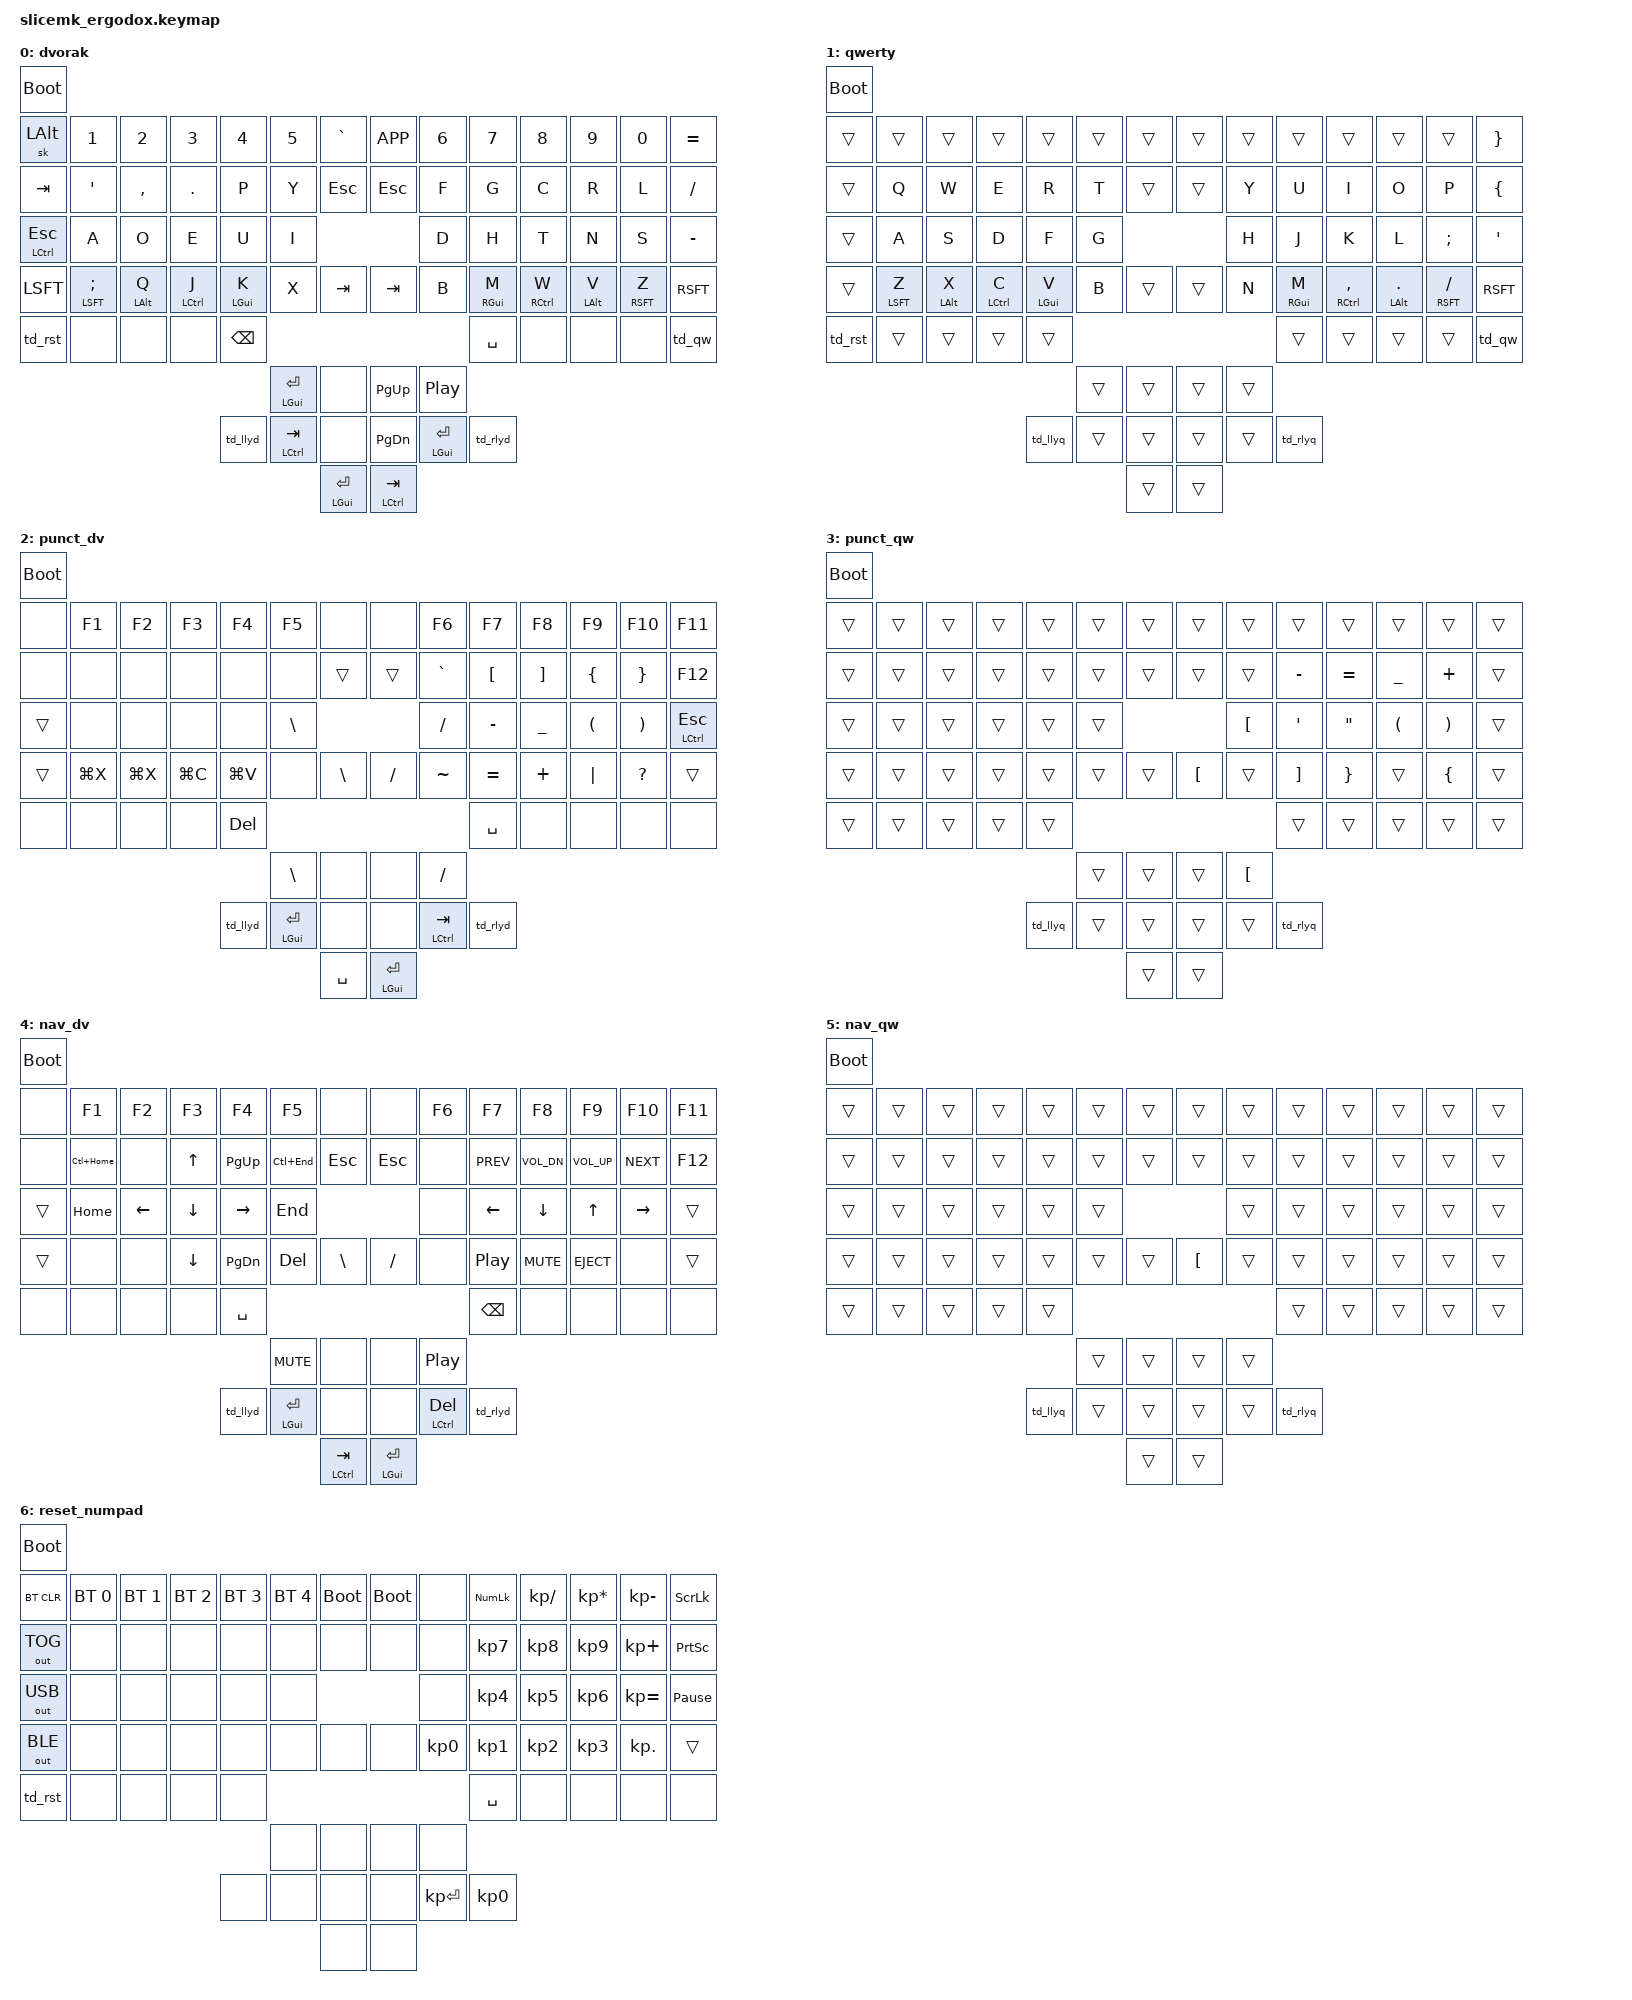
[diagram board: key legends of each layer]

// -*- mode: c++ -*-

#include <behaviors.dtsi>
#include <dt-bindings/zmk/bt.h>
#include <dt-bindings/zmk/keys.h>
#include <dt-bindings/zmk/outputs.h>
// support for RGB underglow
// 20240609 - no support for underglow yet from upstream main branch.
//   Need to use Xudong's personal branch: https://github.com/xudongzheng/ergodox-zmk-config/blob/underglow/config/west.yml#L2-L9
//   See for more info: https://discord.com/channels/804036937571631124/852408228038180894/1077722392601841744
#include <dt-bindings/zmk/rgb.h>

// Adding support for urob's zmk-helpers
#include "zmk-helpers/helper.h"
// Source desired key-position labels
#include "zmk-helpers/key-labels/slicemk-ergodox.h"

// Each layer gets a name for readability, which is then used in the keymap
// matrix below. The underscores don't mean anything - you can have a layer
// called STUFF or any other name. Layer names don't all need to be of the
// same length, obviously, and you can also skip them entirely and just use
// numbers.
#define _DVORAK 0
#define _QWERTY 1
#define _PUNCT_DV 2
#define _PUNCT_QW 3
#define _NAV_DV 4
#define _NAV_QW 5
#define _RESET_NUM 6

// Helpful defines
#define XXXXXXX &none
#define _______ &trans

// Layer-related
#define TOG_RST &tog _RESET_NUM
#define TOG_QW &tog _QWERTY
#define SL_NAVD &sl _NAV_DV     // Sticky layer DV Nav layer
#define SL_NAVQ &sl _NAV_QW     // Sticky layer QW Nav layer
#define SL_PUND &sl _PUNCT_DV   // Sticky layer DV Punct layer
#define SL_PUNQ &sl _PUNCT_QW   // Sticky layer DV Punct layer
#define MO_NAVD &mo _NAV_DV     // Momentary DV Nav layer
#define MO_NAVQ &mo _NAV_QW     // Momentary QW Nav layer
#define MO_PUND &sl _PUNCT_DV   // Momentary DV Punct layer
#define MO_PUNQ &sl _PUNCT_QW   // Momentary QW Punct layer
#define TD_RST &td_rst          // Tap dance Reset/Num layer
#define TD_QW &td_qw            // Tap dance Qwerty layer
#define TD_LLYD &td_llyd        // Tap dance Left Hand DV layer
#define TD_RLYD &td_rlyd        // Tap dance Right Hand DV layer
#define TD_LLYQ &td_llyq        // Tap dance Left Hand QW layer
#define TD_RLYQ &td_rlyq        // Tap dance Right Hand QW layer


// Modifier-related
#define CTL_ESC &bhm LCTL ESC
#define GUI_ENT &bhm LGUI ENTER
#define CTL_TAB &bhm LCTL TAB
#define CTL_DEL &bhm LCTL DEL
#define LSFT_SC &bhm LSFT SEMI
#define LALT__Q &bhm LALT Q
#define LCTL__J &bhm LCTL J
#define LGUI__K &bhm LGUI K
#define RGUI__M &bhm RGUI M
#define RCTL__W &bhm RCTL W
#define LALT__V &bhm LALT V
//#define LALT__Q &bhml LALT Q
//#define LCTL__J &bhml LCTL J
//#define LGUI__K &bhml LGUI K
//#Define RGUI__M &bhmr RGUI M
//#define RCTL__W &bhmr RCTL W
//#define LALT__V &bhmr LALT V
#define RSFT__Z &bhm RSFT Z
#define LSFT__Z &bhm LSFT Z
#define LALT__X &bhm LALT X
#define LCTL__C &bhm LCTL C
#define LGUI__V &bhm LGUI V
#define RGUI__M &bhm RGUI M
#define RCTL_CM &bhm RCTL COMMA
#define LALT_DT &bhm LALT DOT
//#define LALT__X &bhml LALT X
//#define LCTL__C &bhml LCTL C
//#define LGUI__V &bhml LGUI V
//#define RGUI__M &bhmr RGUI M
//#define RCTL_CM &bhmr RCTL COMMA
//#define LALT_DT &bhmr LALT DOT
#define RSFT_SH &bhm RSFT FSLH

// used for below homerow mods
// left-hand keys
//#define KEYS_L LT0 LT1 LT2 LT3 LT4 LT5 LT6 LM0 LM1 LM2 LM3 LM4 LM6 LB0 LB1 LB2 LB3 LB4 LB5 LB6
//#define KEYS_L2 LN0 LN1 LN2 LN3 LN4 LN5 LN6 LF1 LF2 LF3 LF4 LF5
#define KEYS_L LT0 LT1 LT2 LT3 LT4 LT5 LT6 LM0 LM1 LM2 LM3 LM4 LM6 LB0 LB1 LB2 LB3 LB4 LB5 LB6 LN0 LN1 LN2 LN3 LN4 LN5 LN6 LF1 LF2 LF3 LF4 LF5
#define KEYS_L_THUMBS LT0 LT1 LT2 LT3 LT4 LT5 LT6 LM0 LM1 LM2 LM3 LM4 LM6 LB0 LB1 LB2 LB3 LB4 LB5 LB6 LN0 LN1 LN2 LN3 LN4 LN5 LN6 LF1 LF2 LF3 LF4 LF5 LH0 LH1 LH2 LH3 LH4 LH5 RH0 RH1 RH2 RH3 RH4 RH5
// right-hand keys
//#define KEYS_R RT0 RT1 RT2 RT3 RT4 RT5 RT6 RM0 RM1 RM2 RM3 RM4 RM6 RB0 RB1 RB2 RB3 RB4 RB5 RB6
//#define KEYS_R2 RN0 RN1 RN2 RN3 RN4 RN5 RN6 RF1 RF2 RF3 RF4 RF5
#define KEYS_R RT0 RT1 RT2 RT3 RT4 RT5 RT6 RM0 RM1 RM2 RM3 RM4 RM6 RB0 RB1 RB2 RB3 RB4 RB5 RB6 RN0 RN1 RN2 RN3 RN4 RN5 RN6 RF1 RF2 RF3 RF4 RF5
#define KEYS_R_THUMBS RT0 RT1 RT2 RT3 RT4 RT5 RT6 RM0 RM1 RM2 RM3 RM4 RM6 RB0 RB1 RB2 RB3 RB4 RB5 RB6 RN0 RN1 RN2 RN3 RN4 RN5 RN6 RF1 RF2 RF3 RF4 RF5 LH0 LH1 LH2 LH3 LH4 LH5 RH0 RH1 RH2 RH3 RH4 RH5
// thumb keys
#define THUMBS LH0 LH1 LH2 LH3 LH4 LH5 RH0 RH1 RH2 RH3 RH4 RH5


// Time (ms) before sticky layer is released
// matches QMK setting
&sl {
    release-after-ms = <1500>;
};

// Change behavior of caps_word to stop on modifier by setting
// ignore-modifiers to false using /delete-property/
// See: https://github.com/zmkfirmware/zmk/issues/1410
&caps_word {
    /delete-property/ ignore-modifiers;
    continue-list = <UNDERSCORE MINUS BACKSPACE DELETE>;
};

/ {
    behaviors {
        bhm: below_homerow_mods {
            compatible = "zmk,behavior-hold-tap";
            label = "BELOW_HOMEROW_MODS";
            #binding-cells = <2>;
            flavor = "tap-preferred";
            tapping-term-ms = <200>;
            quick-tap-ms = <250>;
            bindings = <&kp>, <&kp>;
        };
        //bhml: below_homerow_mods_left {
        //    compatible = "zmk,behavior-hold-tap";
        //    label = "BELOW_HOMEROW_MODS_LEFT";
        //    #binding-cells = <2>;
        //    flavor = "balanced";
        //    tapping-term-ms = <280>;
        //    // repeat on tap-into-hold
        //    quick-tap-ms = <175>;
        //    require-prior-idle-ms = <150>;
        //    bindings = <&kp>, <&kp>;
        //    //hold-trigger-key-positions = <KEYS_R KEYS_R2 THUMBS>;
        //    //hold-trigger-key-positions = <KEYS_R THUMBS>;
        //    hold-trigger-key-positions = <KEYS_R_THUMBS>;
        //    // delay positional check until key release
        //    hold-trigger-on-release;
        //};
        //bhmr: below_homerow_mods_right {
        //    compatible = "zmk,behavior-hold-tap";
        //    label = "BELOW_HOMEROW_MODS_RIGHT";
        //    #binding-cells = <2>;
        //    flavor = "balanced";
        //    tapping-term-ms = <280>;
        //    // repeat on tap-into-hold
        //    quick-tap-ms = <175>;
        //    require-prior-idle-ms = <150>;
        //    bindings = <&kp>, <&kp>;
        //    //hold-trigger-key-positions = <KEYS_L KEYS_L2 THUMBS>;
        //    //hold-trigger-key-positions = <KEYS_L THUMBS>;
        //    hold-trigger-key-positions = <KEYS_L_THUMBS>;
        //    // delay positional check until key release
        //    hold-trigger-on-release;
        //};
        td_rst: tap_dance_reset_num_layer {
            // Using tap-dance to require 3 taps to get to _RESET_NUM layer.
            compatible = "zmk,behavior-tap-dance";
            #binding-cells = <0>;
            tapping-term-ms = <500>;
            bindings = <&none>, <&mo _RESET_NUM>, <&tog _RESET_NUM>;
        };
        td_qw: tap_dance_qwerty_layer {
            // Using tap-dance to require 3 taps to get to _QWERTY layer.
            compatible = "zmk,behavior-tap-dance";
            #binding-cells = <0>;
            tapping-term-ms = <500>;
            bindings = <&none>, <&none>, <&tog _QWERTY>;
        };
        td_llyd: tap_dance_left_layer_dv {
            // Using tap-dance to get other layers with same key.
            compatible = "zmk,behavior-tap-dance";
            #binding-cells = <0>;
            tapping-term-ms = <350>;
            bindings = <&sl _NAV_DV>, <&sl _PUNCT_DV>, <&mo _NAV_DV>;
        };
        td_rlyd: tap_dance_right_layer_dv {
            // Using tap-dance to get other layers with same key.
            compatible = "zmk,behavior-tap-dance";
            #binding-cells = <0>;
            tapping-term-ms = <350>;
            bindings = <&sl _PUNCT_DV>, <&sl _NAV_DV>, <&mo _PUNCT_DV>;
        };
        td_llyq: tap_dance_left_layer_qw {
            // Using tap-dance to get other layers with same key.
            compatible = "zmk,behavior-tap-dance";
            #binding-cells = <0>;
            tapping-term-ms = <350>;
            bindings = <&sl _NAV_QW>, <&sl _PUNCT_QW>, <&mo _NAV_QW>;
        };
        td_rlyq: tap_dance_right_layer_qw {
            // Using tap-dance to get other layers with same key.
            compatible = "zmk,behavior-tap-dance";
            #binding-cells = <0>;
            tapping-term-ms = <350>;
            bindings = <&sl _PUNCT_QW>, <&sl _NAV_QW>, <&mo _PUNCT_QW>;
        };
    };

    combos {
        compatible = "zmk,combos";
        caplk: combo_capslock {
            timeout-ms = <150>;
            //key-positions = <41 54>; // left and right shift
            key-positions = <LB5 RB5>; // left and right shift
            bindings = <&kp CAPSLOCK>;
        };
        capwd: combo_capsword {
            timeout-ms = <150>;
            //key-positions = <19 24>;
            //key-positions = <20 23>; // Y and F for caps_word
            //key-positions = <18 25>; // DOT and C for caps_word
            //key-positions = <LT5 RT5>; // TAB and FLSH for caps_word
            //key-positions = <29 40>; // combo of CTL_ESC and MINUS for caps_word, using key-labels
            key-positions = <LM5 RM5>; // combo of CTL_ESC and MINUS for caps_word, using key-labels
            bindings = <&caps_word>;
        };
    };


    keymap {
        compatible = "zmk,keymap";

        dvorak {
//
// default, dvorak in keyboard, qwerty in OS
// ,--------.
// | Dongle |
// `--------'
// ,--------------------------------------------------.        ,--------------------------------------------------.
// | LAlt   | 1 !  | 2 @  | 3 #  | 4 $  | 5 %  | ` ~  |        | App  | 6 ^  | 7 &  | 8 *  | 9 (  | 0 )  |  = +   |
// |--------+------+------+------+------+-------------|        |------+------+------+------+------+------+--------|
// | Tab    | ' "  | , <  | . >  | p P  | y Y  | Esc  |        | Esc  | f F  | g G  | c C  | r R  | l L  |  / ?   |
// |--------+------+------+------+------+------|      |        |      |------+------+------+------+------+--------|
// | C_Esc  | a A  | o O  | e E  | u U  | i I  |------|        |------| d D  | h H  | t T  | n N  | s S  |  - _   |
// |--------+------+------+------+------+------| Tab  |        | Tab  |------+------+------+------+------+--------|
// | LShift | ; :  | q Q  | j J  | k K  | x X  |      |        |      | b B  | m M  | w W  | v V  | z Z  | RShift |
// `--------+------+------+------+------+-------------'        `-------------+------+------+------+------+--------'
//   |td_rst|      |      |      | BkSp |  ,-------------.  ,-------------.  | Spce |      |      |      | td_qw|
//   `----------------------------------'  | G_Ent|      |  | PgUp | Pl/Pa|  `----------------------------------'
//                                  ,------|------|------|  |------+------+------.
//                                  |      | Ctrl |      |  | PgDn | Gui  |      |
//                                  |tdllyd|      |------|  |------|      |tdrlyd|
//                                  |      | Tab  | G_Ent|  | C_Tab| Entr |      |
//                                  `--------------------'  `--------------------'
            bindings = <
// 0
// DGL
&bootloader
// 1      2        3          4        5         6        7          8          9         10         11       12       13       14
// LN5    LN4      LN3        LN2      LN1       LN0      LN6        RN6        RN0       RN1        RN2      RN3      RN4      RN5
&sk LALT  &kp N1   &kp N2     &kp N3   &kp N4    &kp N5   &kp GRAVE  &kp K_APP  &kp N6    &kp N7     &kp N8   &kp N9   &kp N0   &kp EQUAL
// 15     16       17         18       19        20       21         22         23        24         25       26       27       28
// LT5    LT4      LT3        LT2      LT1       LT0      LT6        RT6        RT0       RT1        RT2      RT3      RT4      RT5
&kp TAB   &kp SQT  &kp COMMA  &kp DOT  &kp P     &kp Y    &kp ESC    &kp ESC    &kp F     &kp G      &kp C    &kp R    &kp L    &kp FSLH
// 29     30       31         32       33        34                             35        36         37       38       39       40
// LM5    LM4      LM3        LM2      LM1       LM0                            RM0       RM1        RM2      RM3      RM4      RM5
CTL_ESC   &kp A    &kp O      &kp E    &kp U     &kp I                          &kp D     &kp H      &kp T    &kp N    &kp S    &kp MINUS
// 41     42       43         44       45        46       47         48         49        50         51       52       53       54
// LB5    LB4      LB3        LB2      LB1       LB0      LB6        RB6        RB0       RB1        RB2      RB3      RB4      RB5
&kp LSFT  LSFT_SC  LALT__Q    LCTL__J  LGUI__K   &kp X    &kp TAB    &kp TAB    &kp B     RGUI__M    RCTL__W  LALT__V  RSFT__Z  &kp RSFT
// 55     56       57         58       59                                                 60         61       62       63       64
// LF5    LF4      LF3        LF2      LF1                                                RF1        RF2      RF3      RF4      RF5
TD_RST    XXXXXXX  XXXXXXX    XXXXXXX  &kp BKSP                                           &kp SPACE  XXXXXXX  XXXXXXX  XXXXXXX  TD_QW
//                                               65       66         67         68
//                                               LH5      LH4        RH4        RH5
                                                 GUI_ENT  XXXXXXX    &kp PG_UP  &kp C_PP
//                                     69        70       71         72         73        74
//                                     LH3       LH2      LH1        RH1        RH2       RH3
                                       TD_LLYD   CTL_TAB  XXXXXXX    &kp PG_DN  GUI_ENT   TD_RLYD
//                                                        75         76
//                                                        LH0        RH0
                                                          GUI_ENT    CTL_TAB
            >;
        };
        qwerty {
//
// qwerty in keyboard, dvorak in OS
// ,--------.
// | Dongle |
// `--------'
// ,--------------------------------------------------.        ,--------------------------------------------------.
// | LAlt   | 1 !  | 2 @  | 3 #  | 4 $  | 5 %  | ` ~  |        | App  | 6 ^  | 7 &  | 8 *  | 9 (  | 0 )  |  ] }   |
// |--------+------+------+------+------+-------------|        |------+------+------+------+------+------+--------|
// | Tab    | q Q  | w W  | e E  | r R  | t T  | Esc  |        | Esc  | y Y  | u U  | i I  | o O  | p P  |  [ {   |
// |--------+------+------+------+------+------|      |        |      |------+------+------+------+------+--------|
// | C_Esc  | a A  | s S  | d D  | f F  | g G  |------|        |------| h H  | j J  | k K  | l L  | ; :  |  ' "   |
// |--------+------+------+------+------+------| Tab  |        | Tab  |------+------+------+------+------+--------|
// | LShift | z Z  | x X  | c C  | v V  | b B  |      |        |      | n N  | m M  | , <  | . >  | / ?  | RShift |
// `--------+------+------+------+------+-------------'        `-------------+------+------+------+------+--------'
//   |td_rst|      |      |      | BkSp |  ,-------------.  ,-------------.  | Spce |      |      |      | td_qw|
//   `----------------------------------'  | G_Ent|      |  | PgUp | Pl/Pa|  `----------------------------------'
//                                  ,------|------|------|  |------+------+------.
//                                  |      | Ctrl |      |  | PgDn | Gui  |      |
//                                  |tdllyq|      |------|  |------|      |tdrlyq|
//                                  |      | Tab  | G_Ent|  | C_Tab| Entr |      |
//                                  `--------------------'  `--------------------'
            bindings = <
&bootloader
_______  _______  _______  _______  _______  _______  _______  _______  _______  _______  _______  _______  _______   &kp RBRC
_______  &kp Q    &kp W    &kp E    &kp R    &kp T    _______  _______  &kp Y    &kp U    &kp I    &kp O    &kp P     &kp LBRC
_______  &kp A    &kp S    &kp D    &kp F    &kp G                      &kp H    &kp J    &kp K    &kp L    &kp SEMI  &kp SQT
_______  LSFT__Z  LALT__X  LCTL__C  LGUI__V  &kp B    _______  _______  &kp N    RGUI__M  RCTL_CM  LALT_DT  RSFT_SH   &kp RSFT
TD_RST   _______  _______  _______  _______                                      _______  _______  _______  _______   TD_QW
                                             _______  _______  _______  _______
                                    TD_LLYQ  _______  _______  _______  _______  TD_RLYQ
                                                      _______  _______
            >;
        };
        punct_dv {
//
// punctpad, dvorak in keyboard, qwerty in OS
// ,--------.
// | Dongle |
// `--------'
// ,--------------------------------------------------.        ,--------------------------------------------------.
// |        | F1   | F2   | F3   | F4   | F5   |      |        |      | F6   | F7   | F8   | F9   | F10  | F11    |
// |--------+------+------+------+------+-------------|        |------+------+------+------+------+------+--------|
// |        |      |      |      |      |      | Esc  |        | Esc  | `    | [    | ]    | {    | }    | F12    |
// |--------+------+------+------+------+------|      |        |      |------+------+------+------+------+--------|
// | C_Esc  |      |      |      |      | \    |------|        |------| /    | -    | _    | (    | )    | C_Esc  |
// |--------+------+------+------+------+------| \    |        | /    |------+------+------+------+------+--------|
// | LShift | Undo | Cut  | Copy | Paste|      |      |        |      | ~    | =    | +    | |    | ?    | RShift |
// `--------+------+------+------+------+-------------'        `-------------+------+------+------+------+--------'
//   |      |      |      |      | Del  |  ,-------------.  ,-------------.  | Spce |      |      |      |      |
//   `----------------------------------'  | \    |      |  |      | /    |  `----------------------------------'
//                                  ,------|------|------|  |------+------+------.
//                                  |      | Gui  |      |  |      | Ctrl |      |
//                                  |tdllyd|      |------|  |------|      |tdrlfd|
//                                  |      | Entr | Spce |  | G_Ent| Tab  |      |
//                                  `--------------------'  `--------------------'
            bindings = <
&bootloader
XXXXXXX  &kp F1     &kp F2     &kp F3     &kp F4     &kp F5    XXXXXXX    XXXXXXX   &kp F6     &kp F7     &kp F8     &kp F9    &kp F10    &kp F11
XXXXXXX  XXXXXXX    XXXXXXX    XXXXXXX    XXXXXXX    XXXXXXX   _______    _______   &kp GRAVE  &kp LBKT   &kp RBKT   &kp LBRC  &kp RBRC   &kp F12
_______  XXXXXXX    XXXXXXX    XXXXXXX    XXXXXXX    &kp BSLH                       &kp FSLH   &kp MINUS  &kp UNDER  &kp LPAR  &kp RPAR   CTL_ESC
_______  &kp LG(X)  &kp LG(X)  &kp LG(C)  &kp LG(V)  XXXXXXX   &kp BSLH   &kp FSLH  &kp TILDE  &kp EQUAL  &kp PLUS   &kp PIPE  &kp QMARK  _______
XXXXXXX  XXXXXXX    XXXXXXX    XXXXXXX    &kp DEL                                              &kp SPC    XXXXXXX    XXXXXXX   XXXXXXX    XXXXXXX
                                                     &kp BSLH  XXXXXXX    XXXXXXX   &kp FSLH
                                          TD_LLYD    GUI_ENT   XXXXXXX    XXXXXXX   CTL_TAB    TD_RLYD
                                                               &kp SPACE  GUI_ENT
            >;
        };
        punct_qw {
//
// punctpad, qwerty in keyboard, dvorak in OS
// ,--------.
// | Dongle |
// `--------'
// ,--------------------------------------------------.        ,--------------------------------------------------.
// |        | F1   | F2   | F3   | F4   | F5   |      |        |      | F6   | F7   | F8   | F9   | F10  | F11    |
// |--------+------+------+------+------+-------------|        |------+------+------+------+------+------+--------|
// |        |      |      |      |      |      | Esc  |        | Esc  | `    | -    | =    | _    | +    | F12    |
// |--------+------+------+------+------+------|      |        |      |------+------+------+------+------+--------|
// | C_Esc  |      |      |      |      | \    |------|        |------| [    | '    | "    | (    | )    | C_Esc  |
// |--------+------+------+------+------+------| \    |        | [    |------+------+------+------+------+--------|
// | LShift | Undo | Cut  | Copy | Paste|      |      |        |      | ~    | ]    | }    | |    | {    | RShift |
// `--------+------+------+------+------+-------------'        `-------------+------+------+------+------+--------'
//   |      |      |      |      | Del  |  ,-------------.  ,-------------.  | Spce |      |      |      |      |
//   `----------------------------------'  | \    |      |  |      | [    |  `----------------------------------'
//                                  ,------|------|------|  |------+------+------.
//                                  |      | Gui  |      |  |      | Ctrl |      |
//                                  |tdllyq|      |------|  |------|      |tdrlyq|
//                                  |      | Entr | Spce |  | G_Ent| Tab  |      |
//                                  `--------------------'  `--------------------'
            bindings = <
&bootloader
_______  _______  _______  _______  _______  _______  _______  _______   _______   _______    _______    _______    _______   _______
_______  _______  _______  _______  _______  _______  _______  _______   _______   &kp MINUS  &kp EQUAL  &kp UNDER  &kp PLUS  _______
_______  _______  _______  _______  _______  _______                     &kp LBKT  &kp SQT    &kp DQT    &kp LPAR   &kp RPAR  _______
_______  _______  _______  _______  _______  _______  _______  &kp LBKT  _______   &kp RBKT   &kp RBRC   _______    &kp LBRC  _______
_______  _______  _______  _______  _______                                        _______    _______    _______    _______   _______
                                             _______  _______  _______   &kp LBKT
                                    TD_LLYQ  _______  _______  _______   _______   TD_RLYQ
                                                      _______  _______
            >;
        };
        nav_dv {
//
// nav, dvorak in keyboard, qwerty in OS
// ,--------.
// | Dongle |
// `--------'
// ,--------------------------------------------------.        ,--------------------------------------------------.
// |        | F1   | F2   | F3   | F4   | F5   |      |        |      | F6   | F7   | F8   | F9   | F10  | F11    |
// |--------+------+------+------+------+-------------|        |------+------+------+------+------+------+--------|
// |        |C(Hom)|      | Up   | PgUp |C(End)| Esc  |        | Esc  |      | Prev |Vol Dn|Vol Up| Next | F12    |
// |--------+------+------+------+------+------|      |        |      |------+------+------+------+------+--------|
// | C_Esc  | Home | Left | Down | Rght | End  |------|        |------|      | Left | Down | Up   | Rght | C_Esc  |
// |--------+------+------+------+------+------| \    |        | /    |------+------+------+------+------+--------|
// | LShift |      |      | Down | PgDn | Del  |      |        |      |      | Pl/Pa| Mute | Eject|      | RShift |
// `--------+------+------+------+------+-------------'        `-------------+------+------+------+------+--------'
//   |      |      |      |      | Spce |  ,-------------.  ,-------------.  | BkSp |      |      |      |      |
//   `----------------------------------'  | Mute |      |  |      | Pl/Pa|  `----------------------------------'
//                                  ,------|------|------|  |------+------+------.
//                                  |      | Gui  |      |  |      | Ctrl |      |
//                                  |tdllyd|      |------|  |------|      |tdrlyd|
//                                  |      | Entr | C_Tab|  | G_Ent| Del  |      |
//                                  `--------------------'  `--------------------'
            bindings = <
&bootloader
XXXXXXX  &kp F1        &kp F2    &kp F3    &kp F4     &kp F5       XXXXXXX   XXXXXXX   &kp F6    &kp F7      &kp F8        &kp F9        &kp F10     &kp F11
XXXXXXX  &kp LC(HOME)  XXXXXXX   &kp UP    &kp PG_UP  &kp LC(END)  &kp ESC   &kp ESC   XXXXXXX   &kp C_PREV  &kp C_VOL_DN  &kp C_VOL_UP  &kp C_NEXT  &kp F12
_______  &kp HOME      &kp LEFT  &kp DOWN  &kp RIGHT  &kp END                          XXXXXXX   &kp LEFT    &kp DOWN      &kp UP        &kp RIGHT   _______
_______  XXXXXXX       XXXXXXX   &kp DOWN  &kp PG_DN  &kp DEL      &kp BSLH  &kp FSLH  XXXXXXX   &kp C_PP    &kp C_MUTE    &kp C_EJECT   XXXXXXX     _______
XXXXXXX  XXXXXXX       XXXXXXX   XXXXXXX   &kp SPACE                                             &kp BSPC    XXXXXXX       XXXXXXX       XXXXXXX     XXXXXXX
                                                      &kp C_MUTE   XXXXXXX   XXXXXXX   &kp C_PP
                                           TD_LLYD    GUI_ENT      XXXXXXX   XXXXXXX   CTL_DEL   TD_RLYD
                                                                   CTL_TAB   GUI_ENT
           >;
        };
        nav_qw {
//
// nav, qwerty in keyboard, dvorak in OS
// ,--------.
// | Dongle |
// `--------'
// ,--------------------------------------------------.        ,--------------------------------------------------.
// |        | F1   | F2   | F3   | F4   | F5   |      |        |      | F6   | F7   | F8   | F9   | F10  | F11    |
// |--------+------+------+------+------+-------------|        |------+------+------+------+------+------+--------|
// |        |C(Hom)|      | Up   | PgUp |C(End)| Esc  |        | Esc  |      | Prev |Vol Dn|Vol Up| Next | F12    |
// |--------+------+------+------+------+------|      |        |      |------+------+------+------+------+--------|
// | C_Esc  | Home | Left | Down | Rght | End  |------|        |------|      | Left | Down | Up   | Rght | C_Esc  |
// |--------+------+------+------+------+------| \    |        | [    |------+------+------+------+------+--------|
// | LShift |      |      | Down | PgDn | Del  |      |        |      |      | Pl/Pa| Mute | Eject|      | RShift |
// `--------+------+------+------+------+-------------'        `-------------+------+------+------+------+--------'
//   |      |      |      |      | Spce |  ,-------------.  ,-------------.  | BkSp |      |      |      |      |
//   `----------------------------------'  | Mute |      |  |      | Pl/Pa|  `----------------------------------'
//                                  ,------|------|------|  |------+------+------.
//                                  |      | Gui  |      |  |      | Ctrl |      |
//                                  |tdllyq|      |------|  |------|      |tdrlyq|
//                                  |      | Entr | C_Tab|  | G_Ent| Del  |      |
//                                  `--------------------'  `--------------------'
            bindings = <
&bootloader
_______  _______  _______  _______  _______  _______  _______  _______   _______  _______   _______  _______  _______  _______
_______  _______  _______  _______  _______  _______  _______  _______   _______  _______   _______  _______  _______  _______
_______  _______  _______  _______  _______  _______                     _______  _______   _______  _______  _______  _______
_______  _______  _______  _______  _______  _______  _______  &kp LBKT  _______  _______   _______  _______  _______  _______
_______  _______  _______  _______  _______                                       _______   _______  _______  _______  _______
                                             _______  _______  _______   _______
                                    TD_LLYQ  _______  _______  _______   _______  TD_RLYQ
                                                      _______  _______
           >;
        };
        reset_numpad {
//
// reset, and numpad
// ,--------.
// | Dongle |
// `--------'
// ,--------------------------------------------------.        ,--------------------------------------------------.
// |  BtClr | BtSl0| BtSl1| BtSl2| BtSl3| BtSl4| Reset|        | Reset|      | NmLk | Np / | Np * | Np - | ScrLk  |
// |--------+------+------+------+------+-------------|        |------+------+------+------+------+------+--------|
// |  OutTog|      |      |      |      |      |      |        |      |      | Np 7 | Np 8 | Np 9 | Np + | PrtScn |
// |--------+------+------+------+------+------|      |        |      |------+------+------+------+------+--------|
// |  OutUsb|      |      |      |      |      |------|        |------|      | Np 4 | Np 5 | Np 6 | Np = | Pause  |
// |--------+------+------+------+------+------|      |        |      |------+------+------+------+------+--------|
// |  OutBle|      |      |      |      |      |      |        |      | Np 0 | Np 1 | Np 2 | Np 3 | Np . | RShift |
// `--------+------+------+------+------+-------------'        `-------------+------+------+------+------+--------'
//   |td_rst|      |      |      |      |  ,-------------.  ,-------------.  | Spce |      |      |      |      |
//   `----------------------------------'  |      |      |  |      |      |  `----------------------------------'
//                                  ,------|------|------|  |------+------+------.
//                                  |      |      |      |  |      |NumPad|NumPad|
//                                  |      |      |------|  |------|      |      |
//                                  |      |      |      |  |      | Ent  |  0   |
//                                  `--------------------'  `--------------------'
            bindings = <
&bootloader
&bt BT_CLR    &bt BT_SEL 0  &bt BT_SEL 1  &bt BT_SEL 2  &bt BT_SEL 3 &bt BT_SEL 4  &bootloader  &bootloader  XXXXXXX       &kp KP_NLCK  &kp KP_SLASH  &kp KP_ASTERISK  &kp KP_MINUS  &kp SLCK
&out OUT_TOG  XXXXXXX       XXXXXXX       XXXXXXX       XXXXXXX      XXXXXXX       XXXXXXX      XXXXXXX      XXXXXXX       &kp KP_N7    &kp KP_N8     &kp KP_N9        &kp KP_PLUS   &kp PSCRN
&out OUT_USB  XXXXXXX       XXXXXXX       XXXXXXX       XXXXXXX      XXXXXXX                                 XXXXXXX       &kp KP_N4    &kp KP_N5     &kp KP_N6        &kp KP_EQUAL  &kp PAUSE_BREAK
&out OUT_BLE  XXXXXXX       XXXXXXX       XXXXXXX       XXXXXXX      XXXXXXX       XXXXXXX      XXXXXXX      &kp KP_N0     &kp KP_N1    &kp KP_N2     &kp KP_N3        &kp KP_DOT    _______
TD_RST        XXXXXXX       XXXXXXX       XXXXXXX       XXXXXXX                                                            &kp SPACE    XXXXXXX       XXXXXXX          XXXXXXX       XXXXXXX
                                                                     XXXXXXX       XXXXXXX      XXXXXXX      XXXXXXX
                                                        XXXXXXX      XXXXXXX       XXXXXXX      XXXXXXX      &kp KP_ENTER  &kp KP_N0
                                                                                   XXXXXXX      XXXXXXX
            >;
        };

    };
  };
